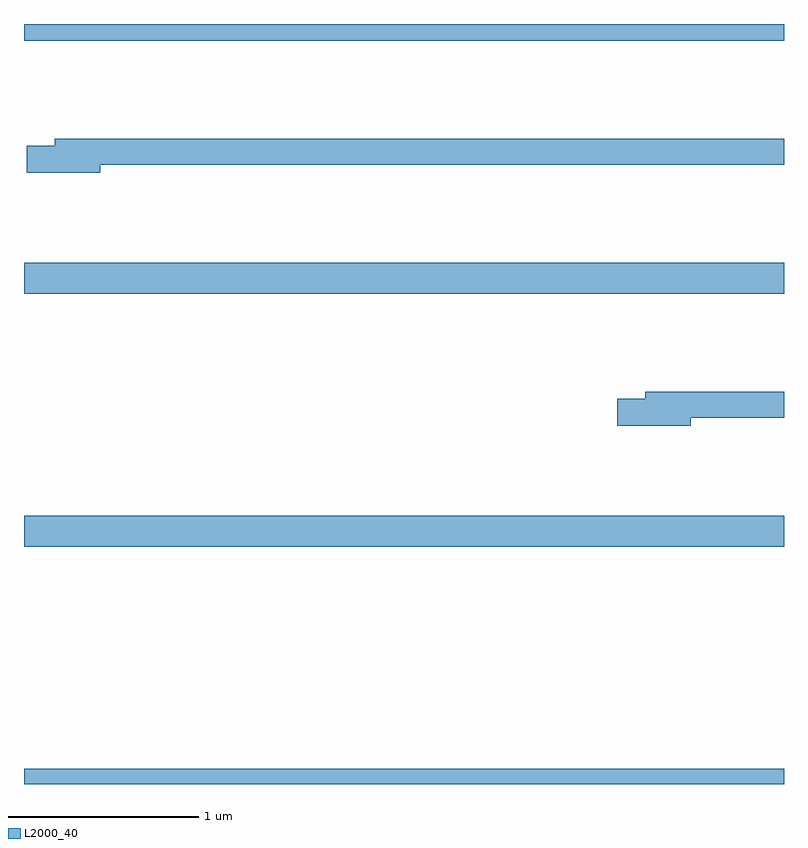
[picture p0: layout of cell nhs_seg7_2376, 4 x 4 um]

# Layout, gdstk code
import gdstk
lib = gdstk.Library(unit=1e-6, precision=1e-09)
def R(c, l, rs):  # rectangles x0, y0, x1, y1
    for r in rs: c.add(gdstk.rectangle(r[:2], r[2:], *l))
def P(c, l, *ps):  # polygons
    for p in ps: c.add(gdstk.Polygon(p, *l))
L2000_40 = (2000, 40)

nhs_seg7_2376 = lib.new_cell('nhs_seg7_2376')
R(nhs_seg7_2376, L2000_40, [(265,1034,269,1034.08), (265,1035.248,269,1035.412), (265,1036.58,269,1036.744), (265,1037.912,269,1038)])
P(nhs_seg7_2376, L2000_40, [(265.402,1037.26),(269,1037.26),(269,1037.396),(265.163,1037.396),(265.163,1037.36),(265.014,1037.36),(265.014,1037.218),(265.402,1037.218)],
  [(268.51,1035.928),(269,1035.928),(269,1036.064),(268.271,1036.064),(268.271,1036.028),(268.122,1036.028),(268.122,1035.886),(268.51,1035.886)])

lib.write_gds('nhs_seg7_2376.gds')
